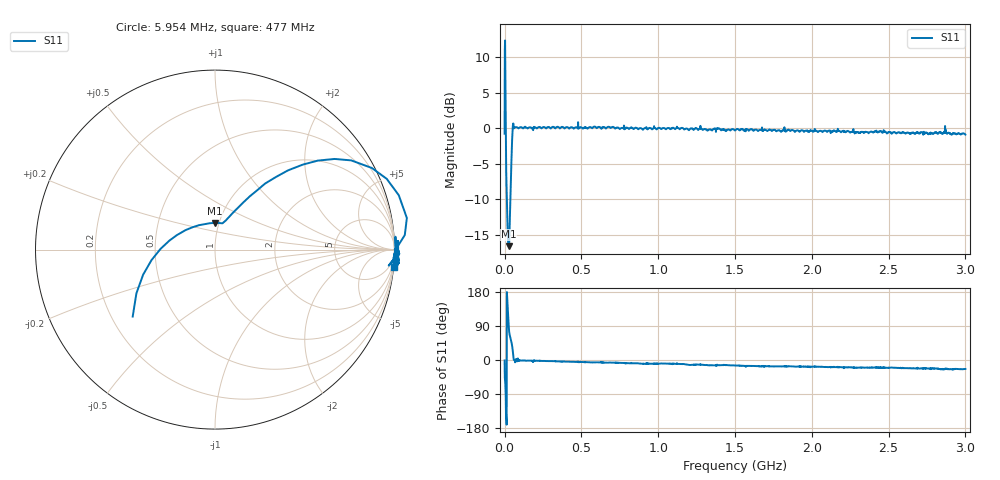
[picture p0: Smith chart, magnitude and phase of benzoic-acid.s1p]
# HZ S RI R 50
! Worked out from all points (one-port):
!   2020 points, 10 kHz to 3 GHz, reference 50 ohm
!   lowest |S11| = -16.6 dB at 26.76 MHz (marker M1), VSWR 1.35, Z = 47.6 + j14.5 ohm
!   |S11| at or under -10 dB: 14.51 MHz to 37.42 MHz (22.92 MHz wide, 88.3 % of centre)
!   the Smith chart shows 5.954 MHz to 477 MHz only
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10000  0.9178 -0.0184
7439395  -0.1142 -1.149
1.635467e7  -0.2544 0.0499
1.932643e7  -0.1646 0.1082
2.081231e7  -0.125 0.1246
2.378406e7  -0.0535 0.1426
2.675582e7  -0.00263 0.1485
3.418522e7  0.1021 0.2074
3.864285e7  0.1931 0.2961
4.310049e7  0.3415 0.4057
4.904401e7  0.6667 0.505
5.498752e7  1.024 0.3031
6.241692e7  1.006 -0.00664
6.836043e7  1.012 -0.1069
7.430395e7  1.021 -0.0194
9.510626e7  1.01 -0.0238
3.759374e8  1.021 -0.0786
7.503789e8  0.9802 -0.1299
9.063962e8  0.9802 -0.1755
1.126306e9  0.9936 -0.1796
1.209516e9  0.9701 -0.2262
1.500748e9  0.9348 -0.2433
1.875189e9  0.933 -0.2828
2.251117e9  0.8854 -0.3044
2.625558e9  0.8679 -0.3426
2.806835e9  0.8659 -0.3548
2.852898e9  0.837 -0.3777
3e9  0.8282 -0.3627
